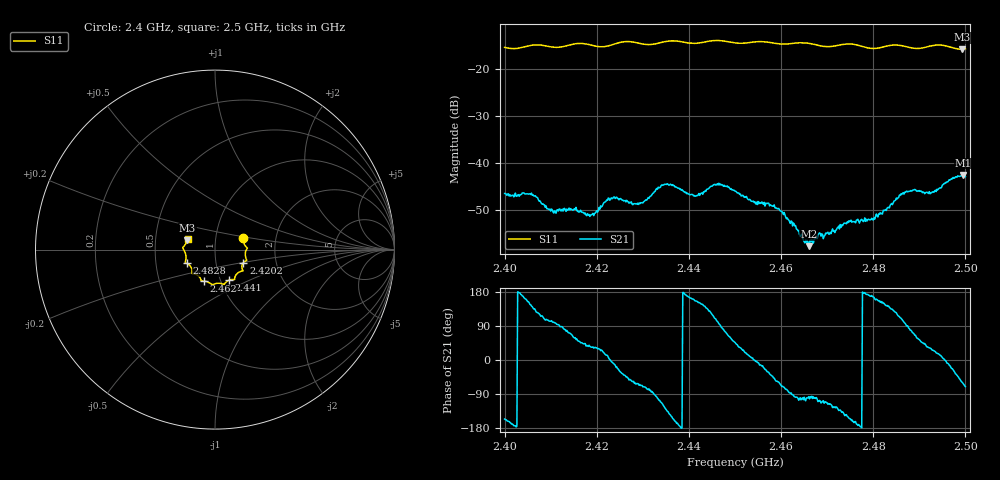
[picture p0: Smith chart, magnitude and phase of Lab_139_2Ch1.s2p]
# Hz S RI R 50
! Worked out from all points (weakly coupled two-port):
!   601 points, 2.4 GHz to 2.5 GHz, reference 50 ohm
!   highest |S21| = -42.55 dB at 2.4995 GHz (marker M1); lowest = -57.7 dB at 2.466 GHz (marker M2)
!   lowest |S11| = -15.8 dB at 2.4993 GHz (marker M3), VSWR 1.39, Z = 36.5 + j3.88 ohm
!   |S11| at or under -10 dB: start of sweep to end of sweep
!   S12 and S22 are empty: the file has one direction only
!   S11 on the Smith chart (normalised r, x): 2.4 GHz: 1.36, +0.17; 2.4202 GHz: 1.36, -0.20; 2.441 GHz: 1.10, -0.39; 2.462 GHz: 0.83, -0.30; 2.4828 GHz: 0.72, -0.11; 2.5 GHz: 0.73, +0.09
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2.4e9  0.1581 0.0621  -0.00432 -0.00195  0 0  0 0
2.405833e9  0.1782 0.0116  -0.00379 0.0029  0 0  0 0
2.410667e9  0.1696 -0.0138  -0.0005 0.00289  0 0  0 0
2.416667e9  0.1769 -0.0605  0.0021 0.00215  0 0  0 0
2.420167e9  0.158 -0.072  0.0026 0.00148  0 0  0 0
2.423667e9  0.1507 -0.1044  0.00427 -0.000737  0 0  0 0
2.4295e9  0.1406 -0.1227  0.00146 -0.00348  0 0  0 0
2.433333e9  0.1118 -0.1511  -0.00123 -0.00538  0 0  0 0
2.441e9  0.0781 -0.1702  -0.00421 0.0015  0 0  0 0
2.446e9  0.0498 -0.1947  -0.00141 0.00569  0 0  0 0
2.45e9  0.0278 -0.1875  0.00346 0.00363  0 0  0 0
2.459e9  -0.0331 -0.1836  0.00185 -0.00275  0 0  0 0
2.462e9  -0.0609 -0.1756  0.000106 -0.00227  0 0  0 0
2.466e9  -0.0775 -0.1709  -0.000155 -0.00129  0 0  0 0
2.466667e9  -0.0787 -0.1677  -0.000149 -0.00152  0 0  0 0
2.482833e9  -0.1572 -0.0768  -0.00249 0.00188  0 0  0 0
2.483333e9  -0.1602 -0.0753  -0.00267 0.00205  0 0  0 0
2.486833e9  -0.1634 -0.0605  -0.000644 0.00484  0 0  0 0
2.492833e9  -0.1772 0.00375  0.00443 0.00215  0 0  0 0
2.499333e9  -0.1539 0.0518  0.00377 -0.00628  0 0  0 0
2.4995e9  -0.1536 0.0543  0.0035 -0.00658  0 0  0 0
2.5e9  -0.1525 0.0613  0.00242 -0.00674  0 0  0 0
